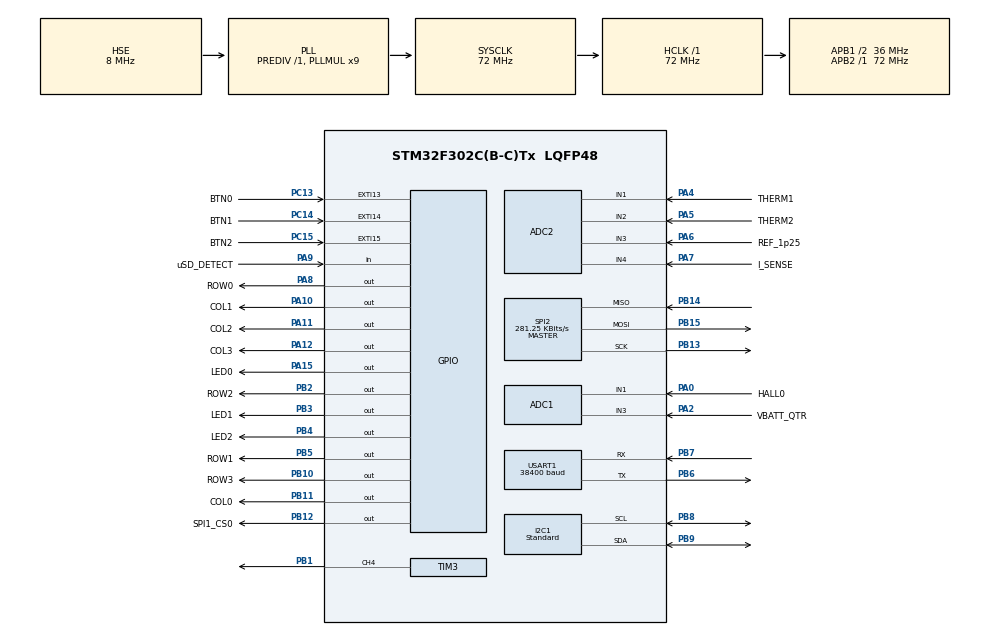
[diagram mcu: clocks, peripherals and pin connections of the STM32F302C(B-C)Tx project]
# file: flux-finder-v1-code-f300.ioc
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ADC1.Channel-2\#ChannelRegularConversion=ADC_CHANNEL_1
ADC1.ClockPrescaler=ADC_CLOCK_SYNC_PCLK_DIV2
ADC1.NbrOfConversionFlag=1
ADC1.Offset-2\#ChannelRegularConversion=0
ADC1.OffsetNumber-2\#ChannelRegularConversion=ADC_OFFSET_NONE
ADC1.Rank-2\#ChannelRegularConversion=1
ADC1.SamplingTime-2\#ChannelRegularConversion=ADC_SAMPLETIME_1CYCLE_5
ADC1.SubFamily=STM32F302xC
ADC1.master=1
ADC2.Channel-0\#ChannelRegularConversion=ADC_CHANNEL_1
ADC2.ClockPrescaler=ADC_CLOCK_SYNC_PCLK_DIV2
ADC2.NbrOfConversionFlag=1
ADC2.Offset-0\#ChannelRegularConversion=0
ADC2.OffsetNumber-0\#ChannelRegularConversion=ADC_OFFSET_NONE
ADC2.Rank-0\#ChannelRegularConversion=1
ADC2.SamplingTime-0\#ChannelRegularConversion=ADC_SAMPLETIME_1CYCLE_5
ADC2.SubFamily=STM32F302xC
Dma.Request0=TIM3_CH4/UP
Dma.TIM3_CH4/UP.0.Direction=DMA_MEMORY_TO_PERIPH
Dma.TIM3_CH4/UP.0.Instance=DMA1_Channel3
Dma.TIM3_CH4/UP.0.MemDataAlignment=DMA_MDATAALIGN_HALFWORD
Dma.TIM3_CH4/UP.0.MemInc=DMA_MINC_ENABLE
Dma.TIM3_CH4/UP.0.Mode=DMA_CIRCULAR
Dma.TIM3_CH4/UP.0.PeriphDataAlignment=DMA_PDATAALIGN_HALFWORD
Dma.TIM3_CH4/UP.0.PeriphInc=DMA_PINC_DISABLE
Dma.TIM3_CH4/UP.0.Priority=DMA_PRIORITY_LOW
FATFS._CODE_PAGE=850
FATFS._FS_LOCK=2
FATFS._FS_MINIMIZE=0
FATFS._FS_NOFSINFO=0
FATFS._FS_NORTC=0
FATFS._FS_READONLY=0
FATFS._FS_REENTRANT=0
FATFS._FS_RPATH=0
FATFS._FS_TIMEOUT=1000
FATFS._FS_TINY=0
FATFS._LFN_UNICODE=0
FATFS._MAX_LFN=255
FATFS._MAX_SS=512
FATFS._MIN_SS=512
FATFS._MULTI_PARTITION=0
FATFS._STRF_ENCODE=3
FATFS._USE_FASTSEEK=1
FATFS._USE_FIND=0
FATFS._USE_FORWARD=0
FATFS._USE_LABEL=0
FATFS._USE_LFN=0
FATFS._USE_MKFS=1
FATFS._USE_STRFUNC=2
FATFS._USE_TRIM=0
FATFS._VOLUMES=1
FATFS._WORD_ACCESS=0
I2C1.AddressingMode=I2C_ADDRESSINGMODE_7BIT
I2C1.Analog_Filter=I2C_ANALOGFILTER_ENABLE
I2C1.DualAddressMode=I2C_DUALADDRESS_DISABLE
I2C1.GeneralCallMode=I2C_GENERALCALL_DISABLE
I2C1.I2C_Coeff_DF=0
I2C1.I2C_Fall_Time=0
I2C1.I2C_Rise_Time=0
I2C1.I2C_Speed_Mode=I2C_Standard
I2C1.NoStretchMode=I2C_NOSTRETCH_DISABLE
I2C1.OwnAddress=0
I2C1.Speed=100
Mcu.Family=STM32F3
Mcu.Name=STM32F302C(B-C)Tx
Mcu.Package=LQFP48
NVIC.ADC1_2_IRQn=true\:0\:0\:false\:false\:true\:true\:true\:true
NVIC.DMA1_Channel3_IRQn=true\:0\:0\:false\:false\:true\:false\:true\:true
NVIC.EXTI15_10_IRQn=true\:3\:0\:true\:false\:true\:true\:true\:true
NVIC.PriorityGroup=NVIC_PRIORITYGROUP_4
NVIC.TIM1_BRK_TIM15_IRQn=true\:3\:0\:true\:false\:true\:true\:true\:true
NVIC.TIM3_IRQn=true\:0\:0\:false\:false\:true\:true\:true\:true
NVIC.TIM6_DAC_IRQn=true\:1\:0\:true\:false\:true\:true\:true\:true
PA0.GPIO_Label=HALL0
PA0.Mode=IN1-Single-Ended
PA0.Signal=ADC1_IN1
PA10.GPIO_Label=COL1
PA10.Signal=GPIO_Output
PA11.GPIO_Label=COL2
PA11.Signal=GPIO_Output
PA12.GPIO_Label=COL3
PA12.Signal=GPIO_Output
PA13.Mode=Serial_Wire
PA13.Signal=SYS_JTMS-SWDIO
PA14.Mode=Serial_Wire
PA14.Signal=SYS_JTCK-SWCLK
PA15.GPIO_Label=LED0
PA15.GPIO_Speed=GPIO_SPEED_FREQ_LOW
PA15.PinState=GPIO_PIN_RESET
PA15.Signal=GPIO_Output
PA2.GPIO_Label=VBATT_QTR
PA2.Mode=IN3-Single-Ended
PA2.Signal=ADC1_IN3
PA4.GPIO_Label=THERM1
PA4.Mode=IN1-Single-Ended
PA4.Signal=ADC2_IN1
PA5.GPIO_Label=THERM2
PA5.Mode=IN2-Single-Ended
PA5.Signal=ADC2_IN2
PA6.GPIO_Label=REF_1p25
PA6.Mode=IN3-Single-Ended
PA6.Signal=ADC2_IN3
PA7.GPIO_Label=I_SENSE
PA7.Mode=IN4-Single-Ended
PA7.Signal=ADC2_IN4
PA8.GPIO_Label=ROW0
PA8.Signal=GPIO_Output
PA9.GPIO_Label=uSD_DETECT
PA9.Signal=GPIO_Input
PB1.GPIO_PuPd=GPIO_PULLDOWN
PB1.GPIO_Speed=GPIO_SPEED_FREQ_HIGH
PB1.Signal=S_TIM3_CH4
PB10.GPIO_Label=ROW3
PB10.Signal=GPIO_Output
PB11.GPIO_Label=COL0
PB11.Signal=GPIO_Output
PB12.GPIO_Label=SPI1_CS0
PB12.GPIO_PuPd=GPIO_PULLUP
PB12.GPIO_Speed=GPIO_SPEED_FREQ_HIGH
PB12.Signal=GPIO_Output
PB13.GPIO_PuPd=GPIO_PULLUP
PB13.Mode=Full_Duplex_Master
PB13.Signal=SPI2_SCK
PB14.GPIO_PuPd=GPIO_PULLUP
PB14.Mode=Full_Duplex_Master
PB14.Signal=SPI2_MISO
PB15.GPIO_PuPd=GPIO_PULLUP
PB15.Mode=Full_Duplex_Master
PB15.Signal=SPI2_MOSI
PB2.GPIO_Label=ROW2
PB2.Signal=GPIO_Output
PB3.GPIO_Label=LED1
PB3.PinState=GPIO_PIN_RESET
PB3.Signal=GPIO_Output
PB4.GPIO_Label=LED2
PB4.PinState=GPIO_PIN_RESET
PB4.Signal=GPIO_Output
PB5.GPIO_Label=ROW1
PB5.Signal=GPIO_Output
PB6.Mode=Asynchronous
PB6.Signal=USART1_TX
PB7.Mode=Asynchronous
PB7.Signal=USART1_RX
PB8.Mode=I2C
PB8.Signal=I2C1_SCL
PB9.Mode=I2C
PB9.Signal=I2C1_SDA
PC13.GPIO_Label=BTN0
PC13.GPIO_ModeDefaultEXTI=GPIO_MODE_IT_RISING_FALLING
PC13.Signal=GPXTI13
PC14-OSC32_IN.GPIO_Label=BTN1
PC14-OSC32_IN.GPIO_ModeDefaultEXTI=GPIO_MODE_IT_RISING_FALLING
PC14-OSC32_IN.Signal=GPXTI14
PC15-OSC32_OUT.GPIO_Label=BTN2
PC15-OSC32_OUT.GPIO_ModeDefaultEXTI=GPIO_MODE_IT_RISING_FALLING
PC15-OSC32_OUT.Signal=GPXTI15
PF0-OSC_IN.Mode=HSE-External-Oscillator
PF0-OSC_IN.Signal=RCC_OSC_IN
PF1-OSC_OUT.Mode=HSE-External-Oscillator
PF1-OSC_OUT.Signal=RCC_OSC_OUT
ProjectManager.HeapSize=0x200
ProjectManager.StackSize=0x400
ProjectManager.TargetToolchain=CMake
RCC.AHBFreq_Value=72000000
RCC.APB1CLKDivider=RCC_HCLK_DIV2
RCC.APB1Freq_Value=36000000
RCC.APB1TimFreq_Value=72000000
RCC.APB2Freq_Value=72000000
RCC.APB2TimFreq_Value=72000000
RCC.CortexFreq_Value=72000000
RCC.DATA_CACHE_ENABLE=0
RCC.FLatency=FLASH_LATENCY_2
RCC.HCLKFreq_Value=72000000
RCC.HSE_VALUE=8000000
RCC.HSI14CalibrationValue=16
RCC.HSI_VALUE=8000000
RCC.INSTRUCTION_CACHE_ENABLE=0
RCC.LSE_VALUE=32768
RCC.PLLMUL=RCC_PLL_MUL9
RCC.PLLSourceVirtual=RCC_PLLSOURCE_HSE
RCC.SYSCLKFreq_VALUE=72000000
RCC.SYSCLKSourceVirtual=RCC_SYSCLKSOURCE_PLLCLK
RCC.USBFreq_Value=72000000
SH.S_TIM3_CH4.0=TIM3_CH4,Output Compare4 CH4
SPI2.BaudRatePrescaler=SPI_BAUDRATEPRESCALER_128
SPI2.CLKPhase=SPI_PHASE_1EDGE
SPI2.CLKPolarity=SPI_POLARITY_LOW
SPI2.CRCCalculation=SPI_CRCCALCULATION_DISABLE
SPI2.CalculateBaudRate=281.25 KBits/s
SPI2.DataSize=SPI_DATASIZE_8BIT
SPI2.Direction=SPI_DIRECTION_2LINES
SPI2.FirstBit=SPI_FIRSTBIT_MSB
SPI2.Mode=SPI_MODE_MASTER
SPI2.NSS=SPI_NSS_SOFT
SPI2.NSSPMode=SPI_NSS_PULSE_ENABLE
SPI2.TIMode=SPI_TIMODE_DISABLE
SPI2.VirtualType=VM_MASTER
TIM15.Period=48
TIM15.Prescaler=1000
TIM3.AutoReloadPreload=TIM_AUTORELOAD_PRELOAD_DISABLE
TIM3.Channel-Output\ Compare4\ CH4=TIM_CHANNEL_4
TIM3.ClockDivision=TIM_CLOCKDIVISION_DIV1
TIM3.CounterMode=TIM_COUNTERMODE_UP
TIM3.OC4Preload=DISABLE
TIM3.OCMode_4=TIM_OCMODE_TOGGLE
TIM3.OCPolarity_4=TIM_OCPOLARITY_LOW
TIM3.Period=65535
TIM3.Prescaler=0
TIM3.Pulse-Output\ Compare4\ CH4=0
TIM3.TIM_MasterOutputTrigger=TIM_TRGO_RESET
TIM3.TIM_MasterSlaveMode=TIM_MASTERSLAVEMODE_DISABLE
TIM6.AutoReloadPreload=TIM_AUTORELOAD_PRELOAD_ENABLE
TIM6.CounterMode=TIM_COUNTERMODE_UP
TIM6.Period=72
TIM6.Prescaler=1000
USART1.AutoBaudRateEnableParam=UART_ADVFEATURE_AUTOBAUDRATE_DISABLE
USART1.BaudRate=38400
USART1.DMADisableonRxErrorParam=ADVFEATURE_DMA_ENABLEONRXERROR
USART1.DataInvertParam=ADVFEATURE_DATAINV_DISABLE
USART1.MSBFirstParam=ADVFEATURE_MSBFIRST_DISABLE
USART1.Mode=MODE_TX_RX
USART1.OneBitSampling=UART_ONE_BIT_SAMPLE_DISABLE
USART1.OverSampling=UART_OVERSAMPLING_16
USART1.OverrunDisableParam=ADVFEATURE_OVERRUN_ENABLE
USART1.Parity=PARITY_NONE
USART1.RxPinLevelInvertParam=ADVFEATURE_RXINV_DISABLE
USART1.StopBits=STOPBITS_1
USART1.SwapParam=ADVFEATURE_SWAP_DISABLE
USART1.TxPinLevelInvertParam=ADVFEATURE_TXINV_DISABLE
USART1.VirtualMode-Asynchronous=VM_ASYNC
USART1.WordLength=WORDLENGTH_8B
VP_FATFS_VS_Generic.Mode=User_defined
VP_TIM15_VS_ClockSourceINT.Mode=Internal
VP_TIM3_VS_ClockSourceINT.Mode=Internal
VP_TIM6_VS_ClockSourceINT.Mode=Enable_Timer
board=custom

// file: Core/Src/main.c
/* USER CODE BEGIN Header */
/**
  ******************************************************************************
  * @file           : main.c
  * @brief          : Main program body
  ******************************************************************************
  * @attention
  *
  * Copyright (c) 2024 STMicroelectronics.
  * All rights reserved.
  *
  * This software is licensed under terms that can be found in the LICENSE file
  * in the root directory of this software component.
  * If no LICENSE file comes with this software, it is provided AS-IS.
  *
  ******************************************************************************
  */
/* USER CODE END Header */
#include "main.h"
#include "fatfs.h"

/* USER CODE BEGIN Includes */
#include <stdio.h>
#include <stdarg.h>
#include <string.h>
#include "matrix.h"
/* USER CODE END Includes */

/* USER CODE BEGIN PD */

volatile uint32_t g_ms_count = 0;
volatile uint32_t g_btn0_time = 0;
volatile uint32_t g_btn1_time = 0;
volatile uint32_t g_btn2_time = 0;
volatile uint8_t g_btn0_state = 0;
volatile uint8_t g_btn1_state = 0;
volatile uint8_t g_btn2_state = 0;

volatile uint16_t hall_readings [NUM_PX] = {0};

uint16_t hall_readings_idle [NUM_PX] = {0};

/* USER CODE END PD */

ADC_HandleTypeDef hadc1;
ADC_HandleTypeDef hadc2;

I2C_HandleTypeDef hi2c1;

SPI_HandleTypeDef hspi2;

TIM_HandleTypeDef htim3;
TIM_HandleTypeDef htim6;
TIM_HandleTypeDef htim15;
DMA_HandleTypeDef hdma_tim3_ch4_up;

UART_HandleTypeDef huart1;

void SystemClock_Config(void);
static void MX_GPIO_Init(void);
static void MX_DMA_Init(void);
static void MX_USART1_UART_Init(void);
static void MX_SPI2_Init(void);
static void MX_I2C1_Init(void);
static void MX_TIM3_Init(void);
static void MX_TIM6_Init(void);
static void MX_ADC1_Init(void);
static void MX_ADC2_Init(void);
static void MX_TIM15_Init(void);

/* USER CODE BEGIN 0 */

  void UART_Printf(const char* fmt, ...) {
      char buff[256];
      va_list args;
      va_start(args, fmt);
      vsnprintf(buff, sizeof(buff), fmt, args);
      va_end(args);
      HAL_UART_Transmit(&huart1, (uint8_t*)buff, strlen(buff), HAL_MAX_DELAY);
  }

  void ff_init() {
      FATFS fs;
      FRESULT res;
      UART_Printf("Ready!\r\n");

      // mount the default drive
      res = f_mount(&fs, "", 0);
      if(res != FR_OK) {
          UART_Printf("f_mount() failed, res = %d\r\n", res);
          return;
      }

      UART_Printf("f_mount() done!\r\n");

      uint32_t freeClust;
      FATFS* fs_ptr = &fs;
      res = f_getfree("", &freeClust, &fs_ptr); // Warning! This fills fs.n_fatent and fs.csize!
      if(res != FR_OK) {
          UART_Printf("f_getfree() failed, res = %d\r\n", res);
          return;
      }

      UART_Printf("f_getfree() done!\r\n");

      uint32_t totalBlocks = (fs.n_fatent - 2) * fs.csize;
      uint32_t freeBlocks = freeClust * fs.csize;

      UART_Printf("Total blocks: %lu (%lu Mb)\r\n", totalBlocks, totalBlocks / 2000);
      UART_Printf("Free blocks: %lu (%lu Mb)\r\n", freeBlocks, freeBlocks / 2000);

      DIR dir;
      res = f_opendir(&dir, "/");
      if(res != FR_OK) {
          UART_Printf("f_opendir() failed, res = %d\r\n", res);
          return;
      }

      FILINFO fileInfo;
      uint32_t totalFiles = 0;
      uint32_t totalDirs = 0;
      UART_Printf("--------\r\nRoot directory:\r\n");
      for(;;) {
          res = f_readdir(&dir, &fileInfo);
          if((res != FR_OK) || (fileInfo.fname[0] == '\0')) {
              break;
          }

          if(fileInfo.fattrib & AM_DIR) {
              UART_Printf("  DIR  %s\r\n", fileInfo.fname);
              totalDirs++;
          } else {
              UART_Printf("  FILE %s\r\n", fileInfo.fname);
              totalFiles++;
          }
      }

      UART_Printf("(total: %lu dirs, %lu files)\r\n--------\r\n", totalDirs, totalFiles);

      res = f_closedir(&dir);
      if(res != FR_OK) {
          UART_Printf("f_closedir() failed, res = %d\r\n", res);
          return;
      }

      UART_Printf("Writing to log.txt...\r\n");

      char writeBuff[128];
      snprintf(writeBuff, sizeof(writeBuff), "Total blocks: %lu (%lu Mb); Free blocks: %lu (%lu Mb)\r\n",
          totalBlocks, totalBlocks / 2000,
          freeBlocks, freeBlocks / 2000);

      FIL logFile;
      res = f_open(&logFile, "log.txt", FA_OPEN_ALWAYS | FA_WRITE);
      if(res != FR_OK) {
          UART_Printf("f_open() failed, res = %d\r\n", res);
          return;
      }

      unsigned int bytesToWrite = strlen(writeBuff);
      unsigned int bytesWritten;
      res = f_write(&logFile, writeBuff, bytesToWrite, &bytesWritten);
      if(res != FR_OK) {
          UART_Printf("f_write() failed, res = %d\r\n", res);
          return;
      }

      if(bytesWritten < bytesToWrite) {
          UART_Printf("WARNING! Disk is full, bytesToWrite = %lu, bytesWritten = %lu\r\n", bytesToWrite, bytesWritten);
      }

      res = f_close(&logFile);
      if(res != FR_OK) {
          UART_Printf("f_close() failed, res = %d\r\n", res);
          return;
      }

      UART_Printf("Reading file...\r\n");
      FIL msgFile;
      res = f_open(&msgFile, "log.txt", FA_READ);
      if(res != FR_OK) {
          UART_Printf("f_open() failed, res = %d\r\n", res);
          return;
      }

      char readBuff[128];
      unsigned int bytesRead;
      res = f_read(&msgFile, readBuff, sizeof(readBuff)-1, &bytesRead);
      if(res != FR_OK) {
          UART_Printf("f_read() failed, res = %d\r\n", res);
          return;
      }

      readBuff[bytesRead] = '\0';
      UART_Printf("```\r\n%s\r\n```\r\n", readBuff);

      res = f_close(&msgFile);
      if(res != FR_OK) {
          UART_Printf("f_close() failed, res = %d\r\n", res);
          return;
      }

      // Unmount
      res = f_mount(NULL, "", 0);
      if(res != FR_OK) {
          UART_Printf("Unmount failed, res = %d\r\n", res);
          return;
      }

      UART_Printf("Done!\r\n");
  }

int test_fs(void){
   UART_Printf("\r\n~ SD card demo by kiwih ~\r\n\r\n");

  HAL_Delay(1000); //a short delay is important to let the SD card settle

  //some variables for FatFs
  FATFS FatFs; 	//Fatfs handle
  FIL fil; 		//File handle
  FRESULT fres; //Result after operations

  //Open the file system
  fres = f_mount(&FatFs, "", 1); //1=mount now
  if (fres != FR_OK) {
    UART_Printf("f_mount error (%i)\r\n", fres);
    while(1);
  }

  //Let's get some statistics from the SD card
  DWORD free_clusters, free_sectors, total_sectors;

  FATFS* getFreeFs;

  fres = f_getfree("", &free_clusters, &getFreeFs);
  if (fres != FR_OK) {
    UART_Printf("f_getfree error (%i)\r\n", fres);
    while(1);
  }

  //Formula comes from ChaN's documentation
  total_sectors = (getFreeFs->n_fatent - 2) * getFreeFs->csize;
  free_sectors = free_clusters * getFreeFs->csize;

  UART_Printf("SD card stats:\r\n%10lu KiB total drive space.\r\n%10lu KiB available.\r\n", total_sectors / 2, free_sectors / 2);

  //Now let's try to open file "test.txt"
  fres = f_open(&fil, "test.txt", FA_READ);
  if (fres != FR_OK) {
    UART_Printf("f_open error (%i)\r\n");
    while(1);
  }
  UART_Printf("I was able to open 'test.txt' for reading!\r\n");

  //Read 30 bytes from "test.txt" on the SD card
  BYTE readBuf[30];

  //We can either use f_read OR f_gets to get data out of files
  //f_gets is a wrapper on f_read that does some string formatting for us
  TCHAR* rres = f_gets((TCHAR*)readBuf, 30, &fil);
  if(rres != 0) {
    UART_Printf("Read string from 'test.txt' contents: %s\r\n", readBuf);
  } else {
    UART_Printf("f_gets error (%i)\r\n", fres);
  }

  //Be a tidy kiwi - don't forget to close your file!
  f_close(&fil);

  //Now let's try and write a file "write.txt"
  fres = f_open(&fil, "write.txt", FA_WRITE | FA_OPEN_ALWAYS | FA_CREATE_ALWAYS);
  if(fres == FR_OK) {
    UART_Printf("I was able to open 'write.txt' for writing\r\n");
  } else {
    UART_Printf("f_open error (%i)\r\n", fres);
  }

  //Copy in a string
  strncpy((char*)readBuf, "a new file is made!", 19);
  UINT bytesWrote;
  fres = f_write(&fil, readBuf, 19, &bytesWrote);
  if(fres == FR_OK) {
    UART_Printf("Wrote %i bytes to 'write.txt'!\r\n", bytesWrote);
  } else {
    UART_Printf("f_write error (%i)\r\n");
  }

  //Be a tidy kiwi - don't forget to close your file!
  f_close(&fil);

  //We're done, so de-mount the drive
  f_mount(NULL, "", 0);

  return 0;
}

void HAL_GPIO_EXTI_Callback(uint16_t GPIO_Pin){
  uint8_t tmp;
  if (GPIO_Pin == BTN0_Pin){
    tmp = HAL_GPIO_ReadPin(BTN0_GPIO_Port, BTN0_Pin);
    if (tmp != g_btn0_state) {
      g_btn0_time = g_ms_count;
      g_btn0_state = tmp;
    }
  }
  else if (GPIO_Pin == BTN1_Pin){
    tmp = HAL_GPIO_ReadPin(BTN1_GPIO_Port, BTN1_Pin);
    if (tmp != g_btn1_state) {
      g_btn1_time = g_ms_count;
      g_btn1_state = tmp;
    }
  }
  else if (GPIO_Pin == BTN2_Pin){
    tmp = HAL_GPIO_ReadPin(BTN2_GPIO_Port, BTN2_Pin);
    if (tmp != g_btn2_state) {
      g_btn2_time = g_ms_count;
      g_btn2_state = tmp;
    }
  }
}

void handle_buttons(void){
  uint32_t time;
  time = g_ms_count;
  if (g_btn0_state && (time > g_btn0_time + DEBOUNCE_TIME_MS)){
    // btn0 is UP
    update_frame_brightness(1);
    g_btn0_state = 0; // we've already handled that button press, so consider it as unpressed
  }
  if (g_btn1_state && (time > g_btn1_time + DEBOUNCE_TIME_MS)){
    // btn1 is DOWN
    update_frame_brightness(0);
    g_btn1_state = 0; // we've already handled that button press, so consider it as unpressed
  }
  if (g_btn2_state && (time > g_btn2_time + DEBOUNCE_TIME_MS)){
    // btn2 is ENTER
    // Capture idle state of all hall sensors
    uint8_t j;
    for (j = 0; j < NUM_PX; j++){
      memcpy(&hall_readings_idle, &hall_readings, sizeof(hall_readings));
    }
    g_btn2_state = 0; // we've already handled that button press, so consider it as unpressed
  }
}

/* USER CODE END 0 */

int main(void)
{

  /* MCU Configuration--------------------------------------------------------*/

  /* Reset of all peripherals, Initializes the Flash interface and the Systick. */
  HAL_Init();

  /* Configure the system clock */
  SystemClock_Config();

  /* Initialize all configured peripherals */
  MX_GPIO_Init();
  MX_DMA_Init();
  MX_USART1_UART_Init();
  MX_FATFS_Init();
  MX_SPI2_Init();
  MX_I2C1_Init();
  MX_TIM3_Init();
  MX_TIM6_Init();
  MX_ADC1_Init();
  MX_ADC2_Init();
  MX_TIM15_Init();

  /* Infinite loop */
  /* USER CODE BEGIN WHILE */

  int i = 0;
  int j = 0;
  int len = 0;
  char buf [64] = {'\0'};

  snprintf(buf, sizeof(buf), "hello world!\n\r");
  HAL_UART_Transmit(&huart1, buf, sizeof(buf), HAL_MAX_DELAY);
  ff_init();
  // test_fs();

  HAL_GPIO_WritePin(LED0_GPIO_Port, LED0_Pin, 0);
  HAL_GPIO_WritePin(LED1_GPIO_Port, LED1_Pin, 0);
  HAL_GPIO_WritePin(LED2_GPIO_Port, LED2_Pin, 0);

  init_test_frame();

  htim3.Instance->CCR4 = 1;
  HAL_TIM_OC_Start_DMA(&htim3, TIM_CHANNEL_4, (uint32_t*)&dma_buf, DMA_LEN);

  HAL_TIM_Base_Start_IT(&htim6);

  matrix_select_idx(0);
  HAL_ADC_Start_IT(&hadc1);

  uint32_t prev_ts = 0;
  uint8_t calibrated = 0;
  while (1)
  {
    handle_buttons();

    if (g_ms_count > prev_ts + 500) {
      prev_ts = g_ms_count;
      i = (i + 1) % 3;

      if (!calibrated){
        uint8_t j;
        for (j = 0; j < NUM_PX; j++){
          memcpy(&hall_readings_idle, &hall_readings, sizeof(hall_readings));
        }
        calibrated = 1;
      }

      switch(i){
      case 0:
        HAL_GPIO_WritePin(LED0_GPIO_Port, LED0_Pin, 1);
        HAL_GPIO_WritePin(LED1_GPIO_Port, LED1_Pin, 0);
        HAL_GPIO_WritePin(LED2_GPIO_Port, LED2_Pin, 0);
        break;
      case 1:
        HAL_GPIO_WritePin(LED0_GPIO_Port, LED0_Pin, 0);
        HAL_GPIO_WritePin(LED1_GPIO_Port, LED1_Pin, 1);
        HAL_GPIO_WritePin(LED2_GPIO_Port, LED2_Pin, 0);
        break;
      case 2:
        HAL_GPIO_WritePin(LED0_GPIO_Port, LED0_Pin, 0);
        HAL_GPIO_WritePin(LED1_GPIO_Port, LED1_Pin, 0);
        HAL_GPIO_WritePin(LED2_GPIO_Port, LED2_Pin, 1);
        break;
      }

      // #define ENABLE_UART
      #ifdef ENABLE_UART
        len = snprintf(buf, sizeof(buf), "  frame_pxs[0] = 0x%06x\n\r", frame_pxs[0]);
        HAL_UART_Transmit(&huart1, buf, len, HAL_MAX_DELAY);
      for (j = 0; j < NUM_PX; j++){
        len = snprintf(buf, sizeof(buf), "hall_readings[%d]=%d\n\r", j, hall_readings[0]);
        HAL_UART_Transmit(&huart1, buf, len, HAL_MAX_DELAY);
      }
      #endif
      }

      for (j = 0; j < NUM_PX; j++){
        int32_t diff;
        // diff = hall_readings[j] - hall_readings_idle[j];
        diff = hall_readings[j] - 2850;
        if (ABS(diff) <= 50)        set_px_color(j, 0x001100);
        else if (ABS(diff) <= 52)  set_px_color(j, 0x020E00);
        else if (ABS(diff) <= 55)  set_px_color(j, 0x040C00);
        else if (ABS(diff) <= 58)  set_px_color(j, 0x060B00);
        else if (ABS(diff) <= 60)  set_px_color(j, 0x081000);
        else if (ABS(diff) <= 67)  set_px_color(j, 0x0A0900);
        else if (ABS(diff) <= 75)  set_px_color(j, 0x0C0800);
        else if (ABS(diff) <= 90)  set_px_color(j, 0x0D0800);
        else if (ABS(diff) <= 100)  set_px_color(j, 0x0E0600);
        else if (ABS(diff) <= 150)  set_px_color(j, 0x0F0400);
        else if (ABS(diff) <= 200)  set_px_color(j, 0x100200);
        else                        set_px_color(j, 0x110000);
      }

    /* USER CODE END WHILE */

  }
}

void SystemClock_Config(void)
{
  RCC_OscInitTypeDef RCC_OscInitStruct = {0};
  RCC_ClkInitTypeDef RCC_ClkInitStruct = {0};
  RCC_PeriphCLKInitTypeDef PeriphClkInit = {0};

  /** Initializes the RCC Oscillators according to the specified parameters
  * in the RCC_OscInitTypeDef structure.
  */
  RCC_OscInitStruct.OscillatorType = RCC_OSCILLATORTYPE_HSI|RCC_OSCILLATORTYPE_HSE;
  RCC_OscInitStruct.HSEState = RCC_HSE_ON;
  RCC_OscInitStruct.HSEPredivValue = RCC_HSE_PREDIV_DIV1;
  RCC_OscInitStruct.HSIState = RCC_HSI_ON;
  RCC_OscInitStruct.HSICalibrationValue = RCC_HSICALIBRATION_DEFAULT;
  RCC_OscInitStruct.PLL.PLLState = RCC_PLL_ON;
  RCC_OscInitStruct.PLL.PLLSource = RCC_PLLSOURCE_HSE;
  RCC_OscInitStruct.PLL.PLLMUL = RCC_PLL_MUL9;
  if (HAL_RCC_OscConfig(&RCC_OscInitStruct) != HAL_OK)
  {
    Error_Handler();
  }

  /** Initializes the CPU, AHB and APB buses clocks
  */
  RCC_ClkInitStruct.ClockType = RCC_CLOCKTYPE_HCLK|RCC_CLOCKTYPE_SYSCLK
                              |RCC_CLOCKTYPE_PCLK1|RCC_CLOCKTYPE_PCLK2;
  RCC_ClkInitStruct.SYSCLKSource = RCC_SYSCLKSOURCE_PLLCLK;
  RCC_ClkInitStruct.AHBCLKDivider = RCC_SYSCLK_DIV1;
  RCC_ClkInitStruct.APB1CLKDivider = RCC_HCLK_DIV2;
  RCC_ClkInitStruct.APB2CLKDivider = RCC_HCLK_DIV1;

  if (HAL_RCC_ClockConfig(&RCC_ClkInitStruct, FLASH_LATENCY_2) != HAL_OK)
  {
    Error_Handler();
  }
  PeriphClkInit.PeriphClockSelection = RCC_PERIPHCLK_USART1|RCC_PERIPHCLK_I2C1;
  PeriphClkInit.Usart1ClockSelection = RCC_USART1CLKSOURCE_PCLK2;
  PeriphClkInit.I2c1ClockSelection = RCC_I2C1CLKSOURCE_HSI;
  if (HAL_RCCEx_PeriphCLKConfig(&PeriphClkInit) != HAL_OK)
  {
    Error_Handler();
  }
}

static void MX_ADC1_Init(void)
{

  ADC_MultiModeTypeDef multimode = {0};
  ADC_ChannelConfTypeDef sConfig = {0};

  /** Common config
  */
  hadc1.Instance = ADC1;
  hadc1.Init.ClockPrescaler = ADC_CLOCK_SYNC_PCLK_DIV2;
  hadc1.Init.Resolution = ADC_RESOLUTION_12B;
  hadc1.Init.ScanConvMode = ADC_SCAN_DISABLE;
  hadc1.Init.ContinuousConvMode = DISABLE;
  hadc1.Init.DiscontinuousConvMode = DISABLE;
  hadc1.Init.ExternalTrigConvEdge = ADC_EXTERNALTRIGCONVEDGE_NONE;
  hadc1.Init.ExternalTrigConv = ADC_SOFTWARE_START;
  hadc1.Init.DataAlign = ADC_DATAALIGN_RIGHT;
  hadc1.Init.NbrOfConversion = 1;
  hadc1.Init.DMAContinuousRequests = DISABLE;
  hadc1.Init.EOCSelection = ADC_EOC_SINGLE_CONV;
  hadc1.Init.LowPowerAutoWait = DISABLE;
  hadc1.Init.Overrun = ADC_OVR_DATA_OVERWRITTEN;
  if (HAL_ADC_Init(&hadc1) != HAL_OK)
  {
    Error_Handler();
  }

  /** Configure the ADC multi-mode
  */
  multimode.Mode = ADC_MODE_INDEPENDENT;
  if (HAL_ADCEx_MultiModeConfigChannel(&hadc1, &multimode) != HAL_OK)
  {
    Error_Handler();
  }

  /** Configure Regular Channel
  */
  sConfig.Channel = ADC_CHANNEL_1;
  sConfig.Rank = ADC_REGULAR_RANK_1;
  sConfig.SingleDiff = ADC_SINGLE_ENDED;
  sConfig.SamplingTime = ADC_SAMPLETIME_1CYCLE_5;
  sConfig.OffsetNumber = ADC_OFFSET_NONE;
  sConfig.Offset = 0;
  if (HAL_ADC_ConfigChannel(&hadc1, &sConfig) != HAL_OK)
  {
    Error_Handler();
  }

}

static void MX_ADC2_Init(void)
{

  ADC_ChannelConfTypeDef sConfig = {0};

  /** Common config
  */
  hadc2.Instance = ADC2;
  hadc2.Init.ClockPrescaler = ADC_CLOCK_SYNC_PCLK_DIV2;
  hadc2.Init.Resolution = ADC_RESOLUTION_12B;
  hadc2.Init.ScanConvMode = ADC_SCAN_DISABLE;
  hadc2.Init.ContinuousConvMode = DISABLE;
  hadc2.Init.DiscontinuousConvMode = DISABLE;
  hadc2.Init.ExternalTrigConvEdge = ADC_EXTERNALTRIGCONVEDGE_NONE;
  hadc2.Init.ExternalTrigConv = ADC_SOFTWARE_START;
  hadc2.Init.DataAlign = ADC_DATAALIGN_RIGHT;
  hadc2.Init.NbrOfConversion = 1;
  hadc2.Init.DMAContinuousRequests = DISABLE;
  hadc2.Init.EOCSelection = ADC_EOC_SINGLE_CONV;
  hadc2.Init.LowPowerAutoWait = DISABLE;
  hadc2.Init.Overrun = ADC_OVR_DATA_OVERWRITTEN;
  if (HAL_ADC_Init(&hadc2) != HAL_OK)
  {
    Error_Handler();
  }

  /** Configure Regular Channel
  */
  sConfig.Channel = ADC_CHANNEL_1;
  sConfig.Rank = ADC_REGULAR_RANK_1;
  sConfig.SingleDiff = ADC_SINGLE_ENDED;
  sConfig.SamplingTime = ADC_SAMPLETIME_1CYCLE_5;
  sConfig.OffsetNumber = ADC_OFFSET_NONE;
  sConfig.Offset = 0;
  if (HAL_ADC_ConfigChannel(&hadc2, &sConfig) != HAL_OK)
  {
    Error_Handler();
  }

}

static void MX_I2C1_Init(void)
{

  hi2c1.Instance = I2C1;
  hi2c1.Init.Timing = 0x2000090E;
  hi2c1.Init.OwnAddress1 = 0;
  hi2c1.Init.AddressingMode = I2C_ADDRESSINGMODE_7BIT;
  hi2c1.Init.DualAddressMode = I2C_DUALADDRESS_DISABLE;
  hi2c1.Init.OwnAddress2 = 0;
  hi2c1.Init.OwnAddress2Masks = I2C_OA2_NOMASK;
  hi2c1.Init.GeneralCallMode = I2C_GENERALCALL_DISABLE;
  hi2c1.Init.NoStretchMode = I2C_NOSTRETCH_DISABLE;
  if (HAL_I2C_Init(&hi2c1) != HAL_OK)
  {
    Error_Handler();
  }

  /** Configure Analogue filter
  */
  if (HAL_I2CEx_ConfigAnalogFilter(&hi2c1, I2C_ANALOGFILTER_ENABLE) != HAL_OK)
  {
    Error_Handler();
  }

  /** Configure Digital filter
  */
  if (HAL_I2CEx_ConfigDigitalFilter(&hi2c1, 0) != HAL_OK)
  {
    Error_Handler();
  }

}

static void MX_SPI2_Init(void)
{

  /* SPI2 parameter configuration*/
  hspi2.Instance = SPI2;
  hspi2.Init.Mode = SPI_MODE_MASTER;
  hspi2.Init.Direction = SPI_DIRECTION_2LINES;
  hspi2.Init.DataSize = SPI_DATASIZE_8BIT;
  hspi2.Init.CLKPolarity = SPI_POLARITY_LOW;
  hspi2.Init.CLKPhase = SPI_PHASE_1EDGE;
  hspi2.Init.NSS = SPI_NSS_SOFT;
  hspi2.Init.BaudRatePrescaler = SPI_BAUDRATEPRESCALER_128;
  hspi2.Init.FirstBit = SPI_FIRSTBIT_MSB;
  hspi2.Init.TIMode = SPI_TIMODE_DISABLE;
  hspi2.Init.CRCCalculation = SPI_CRCCALCULATION_DISABLE;
  hspi2.Init.CRCPolynomial = 7;
  hspi2.Init.CRCLength = SPI_CRC_LENGTH_DATASIZE;
  hspi2.Init.NSSPMode = SPI_NSS_PULSE_ENABLE;
  if (HAL_SPI_Init(&hspi2) != HAL_OK)
  {
    Error_Handler();
  }

}

static void MX_TIM3_Init(void)
{

  TIM_ClockConfigTypeDef sClockSourceConfig = {0};
  TIM_MasterConfigTypeDef sMasterConfig = {0};
  TIM_OC_InitTypeDef sConfigOC = {0};

  htim3.Instance = TIM3;
  htim3.Init.Prescaler = 0;
  htim3.Init.CounterMode = TIM_COUNTERMODE_UP;
  htim3.Init.Period = 65535;
  htim3.Init.ClockDivision = TIM_CLOCKDIVISION_DIV1;
  htim3.Init.AutoReloadPreload = TIM_AUTORELOAD_PRELOAD_DISABLE;
  if (HAL_TIM_Base_Init(&htim3) != HAL_OK)
  {
    Error_Handler();
  }
  sClockSourceConfig.ClockSource = TIM_CLOCKSOURCE_INTERNAL;
  if (HAL_TIM_ConfigClockSource(&htim3, &sClockSourceConfig) != HAL_OK)
  {
    Error_Handler();
  }
  if (HAL_TIM_OC_Init(&htim3) != HAL_OK)
  {
    Error_Handler();
  }
  sMasterConfig.MasterOutputTrigger = TIM_TRGO_RESET;
  sMasterConfig.MasterSlaveMode = TIM_MASTERSLAVEMODE_DISABLE;
  if (HAL_TIMEx_MasterConfigSynchronization(&htim3, &sMasterConfig) != HAL_OK)
  {
    Error_Handler();
  }
  sConfigOC.OCMode = TIM_OCMODE_TOGGLE;
  sConfigOC.Pulse = 0;
  sConfigOC.OCPolarity = TIM_OCPOLARITY_LOW;
  sConfigOC.OCFastMode = TIM_OCFAST_DISABLE;
  if (HAL_TIM_OC_ConfigChannel(&htim3, &sConfigOC, TIM_CHANNEL_4) != HAL_OK)
  {
    Error_Handler();
  }
  HAL_TIM_MspPostInit(&htim3);

}

static void MX_TIM6_Init(void)
{

  TIM_MasterConfigTypeDef sMasterConfig = {0};

  /* USER CODE BEGIN TIM6_Init 1 */

  // NOTE: Cannot reasonably generate us precision running timer: http://www.efton.sk/STM32/gotcha/g15.html
  /* USER CODE END TIM6_Init 1 */
  htim6.Instance = TIM6;
  htim6.Init.Prescaler = 1000;
  htim6.Init.CounterMode = TIM_COUNTERMODE_UP;
  htim6.Init.Period = 72;
  htim6.Init.AutoReloadPreload = TIM_AUTORELOAD_PRELOAD_ENABLE;
  if (HAL_TIM_Base_Init(&htim6) != HAL_OK)
  {
    Error_Handler();
  }
  sMasterConfig.MasterOutputTrigger = TIM_TRGO_RESET;
  sMasterConfig.MasterSlaveMode = TIM_MASTERSLAVEMODE_DISABLE;
  if (HAL_TIMEx_MasterConfigSynchronization(&htim6, &sMasterConfig) != HAL_OK)
  {
    Error_Handler();
  }

}

static void MX_TIM15_Init(void)
{

  TIM_ClockConfigTypeDef sClockSourceConfig = {0};
  TIM_MasterConfigTypeDef sMasterConfig = {0};

  htim15.Instance = TIM15;
  htim15.Init.Prescaler = 1000;
  htim15.Init.CounterMode = TIM_COUNTERMODE_UP;
  htim15.Init.Period = 48;
  htim15.Init.ClockDivision = TIM_CLOCKDIVISION_DIV1;
  htim15.Init.RepetitionCounter = 0;
  htim15.Init.AutoReloadPreload = TIM_AUTORELOAD_PRELOAD_DISABLE;
  if (HAL_TIM_Base_Init(&htim15) != HAL_OK)
  {
    Error_Handler();
  }
  sClockSourceConfig.ClockSource = TIM_CLOCKSOURCE_INTERNAL;
  if (HAL_TIM_ConfigClockSource(&htim15, &sClockSourceConfig) != HAL_OK)
  {
    Error_Handler();
  }
  sMasterConfig.MasterOutputTrigger = TIM_TRGO_RESET;
  sMasterConfig.MasterSlaveMode = TIM_MASTERSLAVEMODE_DISABLE;
  if (HAL_TIMEx_MasterConfigSynchronization(&htim15, &sMasterConfig) != HAL_OK)
  {
    Error_Handler();
  }

}

static void MX_USART1_UART_Init(void)
{

  huart1.Instance = USART1;
  huart1.Init.BaudRate = 38400;
  huart1.Init.WordLength = UART_WORDLENGTH_8B;
  huart1.Init.StopBits = UART_STOPBITS_1;
  huart1.Init.Parity = UART_PARITY_NONE;
  huart1.Init.Mode = UART_MODE_TX_RX;
  huart1.Init.HwFlowCtl = UART_HWCONTROL_NONE;
  huart1.Init.OverSampling = UART_OVERSAMPLING_16;
  huart1.Init.OneBitSampling = UART_ONE_BIT_SAMPLE_DISABLE;
  huart1.AdvancedInit.AdvFeatureInit = UART_ADVFEATURE_NO_INIT;
  if (HAL_UART_Init(&huart1) != HAL_OK)
  {
    Error_Handler();
  }

}

static void MX_DMA_Init(void)
{

  /* DMA controller clock enable */
  __HAL_RCC_DMA1_CLK_ENABLE();

  /* DMA interrupt init */
  /* DMA1_Channel3_IRQn interrupt configuration */
  HAL_NVIC_SetPriority(DMA1_Channel3_IRQn, 0, 0);
  HAL_NVIC_EnableIRQ(DMA1_Channel3_IRQn);

}

static void MX_GPIO_Init(void)
{
  GPIO_InitTypeDef GPIO_InitStruct = {0};

  /* GPIO Ports Clock Enable */
  __HAL_RCC_GPIOC_CLK_ENABLE();
  __HAL_RCC_GPIOF_CLK_ENABLE();
  __HAL_RCC_GPIOA_CLK_ENABLE();
  __HAL_RCC_GPIOB_CLK_ENABLE();

  /*Configure GPIO pin Output Level */
  HAL_GPIO_WritePin(GPIOB, ROW2_Pin|ROW3_Pin|COL0_Pin|SPI1_CS0_Pin
                          |LED1_Pin|LED2_Pin|ROW1_Pin, GPIO_PIN_RESET);

  /*Configure GPIO pin Output Level */
  HAL_GPIO_WritePin(GPIOA, ROW0_Pin|COL1_Pin|COL2_Pin|COL3_Pin
                          |LED0_Pin, GPIO_PIN_RESET);

  /*Configure GPIO pins : BTN0_Pin BTN1_Pin BTN2_Pin */
  GPIO_InitStruct.Pin = BTN0_Pin|BTN1_Pin|BTN2_Pin;
  GPIO_InitStruct.Mode = GPIO_MODE_IT_RISING_FALLING;
  GPIO_InitStruct.Pull = GPIO_NOPULL;
  HAL_GPIO_Init(GPIOC, &GPIO_InitStruct);

  /*Configure GPIO pins : ROW2_Pin ROW3_Pin COL0_Pin LED1_Pin
                           LED2_Pin ROW1_Pin */
  GPIO_InitStruct.Pin = ROW2_Pin|ROW3_Pin|COL0_Pin|LED1_Pin
                          |LED2_Pin|ROW1_Pin;
  GPIO_InitStruct.Mode = GPIO_MODE_OUTPUT_PP;
  GPIO_InitStruct.Pull = GPIO_NOPULL;
  GPIO_InitStruct.Speed = GPIO_SPEED_FREQ_LOW;
  HAL_GPIO_Init(GPIOB, &GPIO_InitStruct);

  /*Configure GPIO pin : SPI1_CS0_Pin */
  GPIO_InitStruct.Pin = SPI1_CS0_Pin;
  GPIO_InitStruct.Mode = GPIO_MODE_OUTPUT_PP;
  GPIO_InitStruct.Pull = GPIO_PULLUP;
  GPIO_InitStruct.Speed = GPIO_SPEED_FREQ_HIGH;
  HAL_GPIO_Init(SPI1_CS0_GPIO_Port, &GPIO_InitStruct);

  /*Configure GPIO pins : ROW0_Pin COL1_Pin COL2_Pin COL3_Pin
                           LED0_Pin */
  GPIO_InitStruct.Pin = ROW0_Pin|COL1_Pin|COL2_Pin|COL3_Pin
                          |LED0_Pin;
  GPIO_InitStruct.Mode = GPIO_MODE_OUTPUT_PP;
  GPIO_InitStruct.Pull = GPIO_NOPULL;
  GPIO_InitStruct.Speed = GPIO_SPEED_FREQ_LOW;
  HAL_GPIO_Init(GPIOA, &GPIO_InitStruct);

  /*Configure GPIO pin : uSD_DETECT_Pin */
  GPIO_InitStruct.Pin = uSD_DETECT_Pin;
  GPIO_InitStruct.Mode = GPIO_MODE_INPUT;
  GPIO_InitStruct.Pull = GPIO_NOPULL;
  HAL_GPIO_Init(uSD_DETECT_GPIO_Port, &GPIO_InitStruct);

  /* EXTI interrupt init*/
  HAL_NVIC_SetPriority(EXTI15_10_IRQn, 3, 0);
  HAL_NVIC_EnableIRQ(EXTI15_10_IRQn);

}

void Error_Handler(void)
{
  __disable_irq();
  while (1)
  {
  }
}
